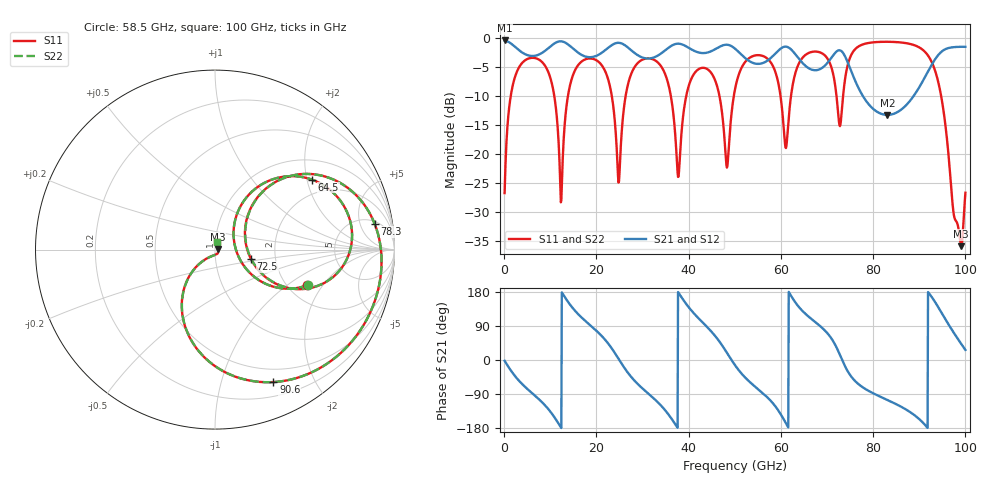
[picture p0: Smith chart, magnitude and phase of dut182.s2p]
! Touchstone file exported from HFSS 2026.1.0
!  File:  C:/ffzhzh/LocalFiles/Ansys_Project_Files/temp_train_TSV_RDL_182_1783653271_26216.aedt
!  Generated:  11:40:12 AM Jul 10, 2026
!  Design:  TSV_RDL
!  Project:  temp_train_TSV_RDL_182_1783653271_26216
! Variables:
!  h_bsmrdl = 2.93um
!  h_ox = 20um
!  h_rdl = 5um
!  h_sub = 55.66um
!  h_tmrdl = 2.95um
!  h_tsv = 55.66um
!  h_via = 3um
!  l_bsmrdl = 676.28um
!  l_sub = 5071.66um
!  l_tmrdl = 639.84um
!  m_sub = 200um
!  pitch = 53.64um
!  r_tsv = 10.48um
!  s_tmrdl = 10um
!  w_bsmrdl = 12.77um
!  w_sub = 500um
!  w_tmrdl = 15.05um
!  x_tsv_center1 = 647.365um
!  x_tsv_center2 = 1336.415um
!  x_tsv_center3 = 1991.305um
!  x_tsv_center4 = 2680.355um
!  x_tsv_center5 = 3335.245um
!  x_tsv_center6 = 4024.295um
# GHz S MA R 50.000000
! Terminal data exported
! Port[1] = TM_RDL1_1_T1
! Port[2] = TM_RDL5_1_T1
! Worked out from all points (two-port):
!   1000 points, 100 MHz to 100 GHz, reference 50 ohm
!   highest |S21| = -0.35 dB at 100 MHz (marker M1); lowest = -13.2 dB at 83.1 GHz (marker M2)
!   |S21| within 3 dB of the highest: start of sweep to 30.18 GHz; 32.22 GHz to 52.19 GHz (19.97 GHz wide, 47.3 % of centre) (the widest 2 of 5)
!   lowest |S11| = -35.9 dB at 99.1 GHz (marker M3), VSWR 1.03, Z = 51.6 + j0.185 ohm
!   |S11| at or under -10 dB: 36.15 GHz to 39.46 GHz (3.307 GHz wide, 8.75 % of centre); 46.69 GHz to 49.78 GHz (3.089 GHz wide, 6.4 % of centre); 94.75 GHz to end of sweep (the widest 3 of 8)
!   |S22| runs from -35.9 to -0.6 dB; largest |S21 - S12| = 1.8e-14
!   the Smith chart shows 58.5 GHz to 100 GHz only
!   S11 on the Smith chart (normalised r, x): 58.5 GHz: 2.54, -1.44; 64.5 GHz: 1.53, +2.14; 72.5 GHz: 1.49, -0.16; 78.3 GHz: 6, +9; 90.6 GHz: 0.35, -1.48; 100 GHz: 1.02, +0.09
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0.1  0.04618 30.5  0.9608 -2.0  0.9608 -2.0  0.04618 30.5
! Gamma 0 0 0 0
! Port Impedance 50 0 50 0
5.3  0.6713 8.6  0.7125 -79.4  0.7125 -79.4  0.6713 8.6
11.9  0.1072 -61.1  0.9423 -169.8  0.9423 -169.8  0.1071 -61.2
16.8  0.6323 19.6  0.7204 112.0  0.7204 112.0  0.6323 19.6
24.9  0.05845 15.3  0.9164 1.3  0.9164 1.3  0.05804 15.4
33.4  0.6162 -20.9  0.7145 -112.5  0.7145 -112.5  0.6162 -20.8
37.7  0.06371 -9.4  0.9013 179.3  0.9013 179.3  0.06368 -9.4
42.8  0.5562 10.9  0.7482 101.9  0.7482 101.9  0.5562 10.9
48.3  0.07673 15.9  0.8827 19.1  0.8827 19.1  0.07711 15.9
50.1  0.3723 63.7  0.8133 -14.5  0.8133 -14.5  0.3725 63.7
58.5  0.552 -21.0  0.7205 -117.6  0.7205 -117.6  0.5521 -21.0
61.1  0.1131 15.8  0.8495 -167.1  0.8495 -167.1  0.1132 15.8
64.5  0.6661 35.8  0.626 131.7  0.626 131.7  0.666 35.9
66.7  0.7649 15.8  0.5376 107.5  0.5376 107.5  0.7649 15.9
72.5  0.2072 -14.7  0.7892 21.7  0.7892 21.7  0.2086 -14.5
78.3  0.9012 9.1  0.2953 -76.4  0.2953 -76.4  0.9013 9.1
83.1  0.9358 -15.8  0.2186 -105.6  0.2186 -105.6  0.9359 -15.8
83.4  0.9355 -17.2  0.2189 -107.2  0.2189 -107.2  0.9356 -17.2
90.6  0.8067 -66.2  0.4172 -162.9  0.4172 -162.9  0.8068 -66.1
94.2  0.4065 -116.5  0.7257 137.7  0.7257 137.7  0.4067 -116.4
99.1  0.01607 6.4  0.8471 42.5  0.8471 42.5  0.01605 5.5
100  0.04648 74.1  0.846 26.6  0.846 26.6  0.04632 73.9
